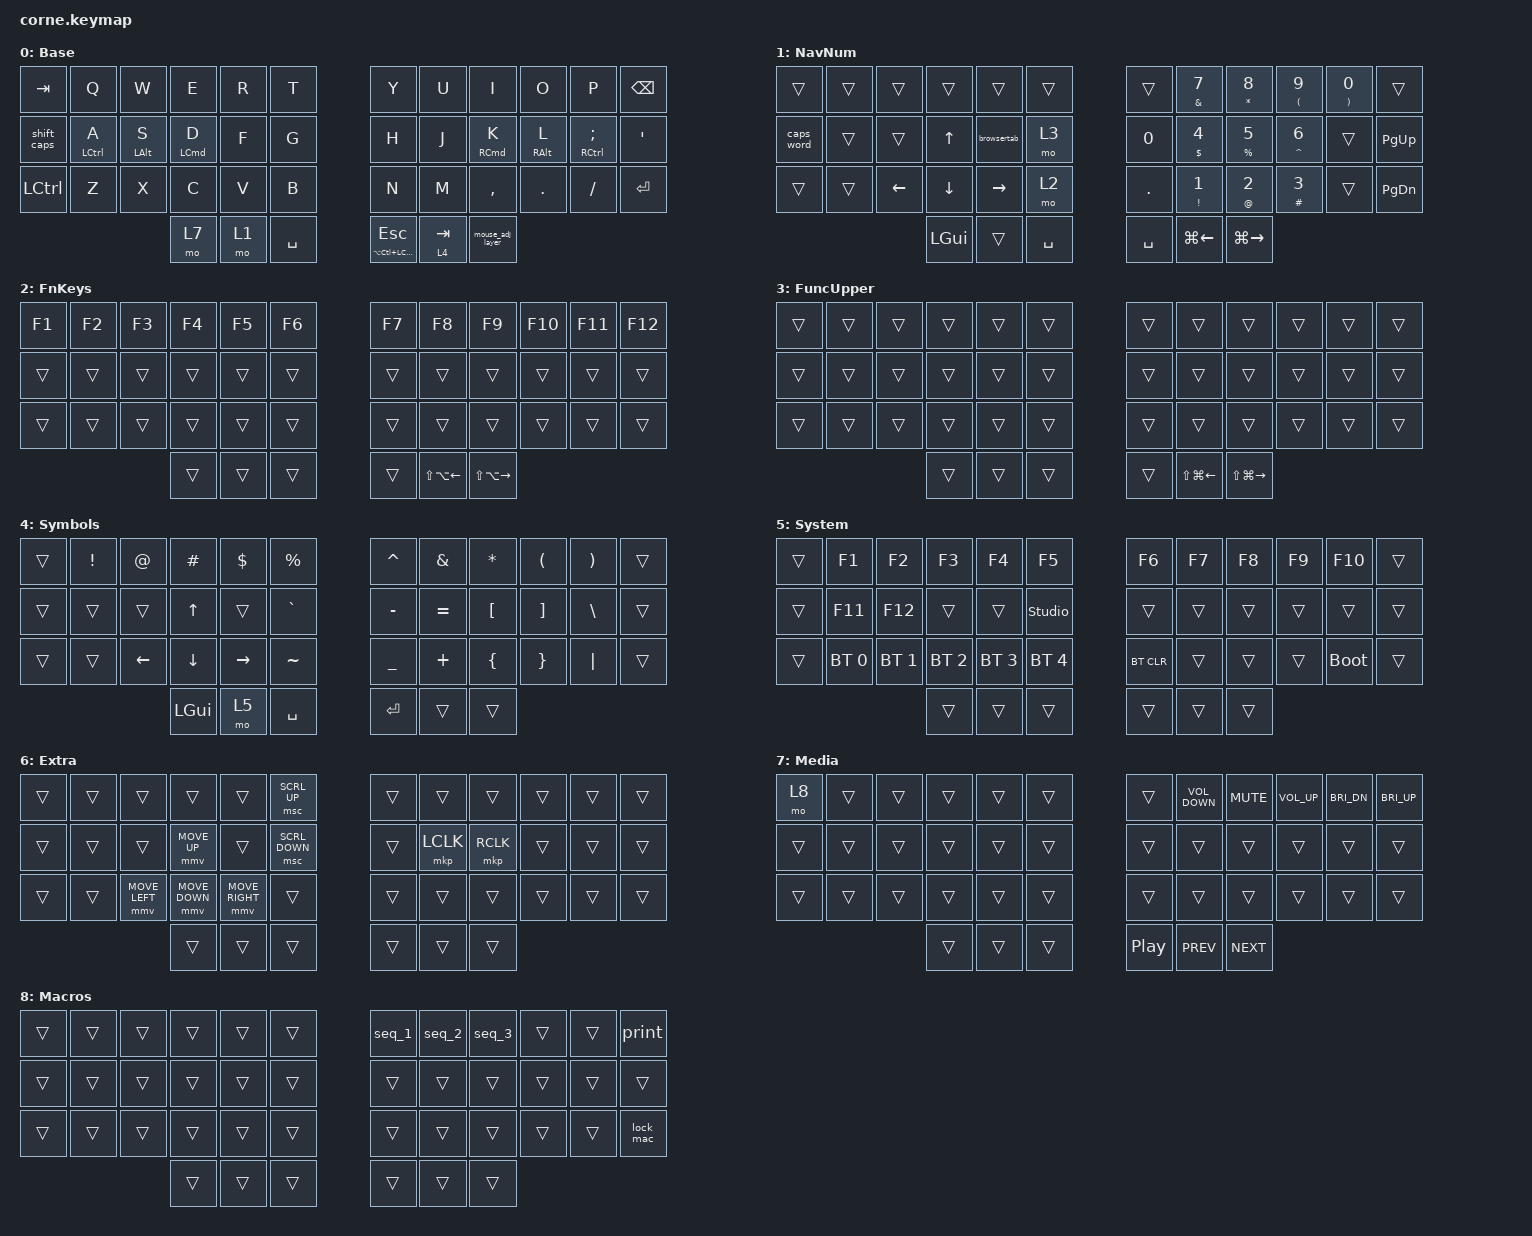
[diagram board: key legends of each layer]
#include <behaviors.dtsi>
#include <dt-bindings/zmk/bt.h>
#include <dt-bindings/zmk/keys.h>
#include <dt-bindings/zmk/pointing.h>

#define DEF 0
#define NAV 1
#define SYM 2
#define ADJ 3
#define EXTRA 4

/ {
    behaviors {
        hm: homerow_mods {
            compatible = "zmk,behavior-hold-tap";
            #binding-cells = <2>;
            tapping-term-ms = <200>;
            flavor = "tap-preferred";
            bindings = <&kp>, <&kp>;

            quick-tap-ms = <180>;
            require-prior-idle-ms = <120>; /* tune to taste */
        };

        para: para {
            compatible = "zmk,behavior-tap-dance";
            #binding-cells = <0>;
            bindings = <&kp LEFT_PARENTHESIS>, <&kp RIGHT_PARENTHESIS>;
        };

        caps: caps {
            compatible = "zmk,behavior-caps-word";
            #binding-cells = <0>;
            continue-list = <MINUS BACKSPACE>;
        };

        paraless: paraless {
            compatible = "zmk,behavior-mod-morph";
            bindings = <&kp LEFT_PARENTHESIS>, <&kp LESS_THAN>;

            #binding-cells = <0>;
            mods = <(MOD_LSFT)>;
        };

        paragreat: paragreat {
            compatible = "zmk,behavior-mod-morph";
            bindings = <&kp RIGHT_PARENTHESIS>, <&kp GREATER_THAN>;

            #binding-cells = <0>;
            mods = <(MOD_LSFT)>;
        };

        // Euro sign: types U+20AC via WinCompose on Windows
        // (RALT+U then 20ac then RET). mod-morph with `&none` on shift
        // matches the original ZMK_UNICODE_SINGLE semantics.
        // Edit the `euro_sign_lower` macro below to retarget per OS:
        //   Windows:  &macro_press &kp RALT &kp U RELEASE  ...  &macro_tap &kp RET
        //   Linux:    &macro_tap &kp LS(LC(U))  ...  &macro_tap &kp SPACE
        //   macOS:    &macro_press &kp LALT  ...  &macro_release &kp LALT

        euro_sign: euro_sign {
            compatible = "zmk,behavior-mod-morph";
            #binding-cells = <0>;
            bindings = <&euro_sign_lower>, <&none>;

            mods = <(MOD_LSFT|MOD_RSFT)>;
        };

        shift_caps: shift_caps {
            compatible = "zmk,behavior-tap-dance";
            label = "SHIFT_CAPS";
            #binding-cells = <0>;
            bindings = <&kp LEFT_SHIFT>, <&caps_word>;
        };

        print: print {
            compatible = "zmk,behavior-tap-dance";
            label = "PRINT";
            #binding-cells = <0>;
            bindings =
                <&kp LS(LG(LC(NUMBER_4)))>,
                <&kp LS(LG(NUMBER_4))>,
                <&kp LS(LG(N5))>;
        };

        mouse_adj_layer: mouse_adj_layer {
            compatible = "zmk,behavior-tap-dance";
            label = "MOUSE_ADJ_LAYER";
            #binding-cells = <0>;
            bindings = <&mo 6>, <&mo 5>;
        };

        hyper: hyper {
            compatible = "zmk,behavior-hold-tap";
            label = "HYPER";
            bindings = <&kp>, <&kp>;

            #binding-cells = <2>;
            tapping-term-ms = <200>;
            quick-tap-ms = <(-1)>;
            require-prior-idle-ms = <(-1)>;
        };
    };

    macros {
        browsertab: browsertab {
            compatible = "zmk,behavior-macro";
            #binding-cells = <0>;
            bindings =
                <&macro_press>,
                <&kp LCTRL>,
                <&macro_tap>,
                <&kp TAB>,
                <&macro_release>,
                <&kp LCTRL>;
        };

        seq_1: seq_1 {
            compatible = "zmk,behavior-macro";
            #binding-cells = <0>;
            bindings = <&kp N2 &kp N0 &kp N2 &kp N8 &kp N2 &kp N9 &kp LS(B) &kp R &kp U &kp N &kp I &kp N &kp H &kp O &kp N0 &kp N5 &kp ENTER>;
            label = "SEQ_1";
        };

        seq_2: seq_2 {
            compatible = "zmk,behavior-macro";
            #binding-cells = <0>;
            bindings = <&kp N2 &kp N0 &kp N2 &kp N8 &kp N2 &kp N9 &kp LS(G) &kp A &kp E &kp L &kp N0 &kp N5 &kp ENTER>;
            label = "SEQ_2";
        };

        seq_3: seq_3 {
            compatible = "zmk,behavior-macro";
            #binding-cells = <0>;
            bindings = <&none &kp N2 &kp N6 &kp N0 &kp N5 &kp LS(G) &kp A &kp E &kp L &kp N2 &kp N7 &kp N0 &kp N4 &kp LS(L) &kp I &kp Z &kp STAR &kp ENTER>;
            label = "SEQ_3";
        };

        print_mac: print_mac {
            compatible = "zmk,behavior-macro";
            #binding-cells = <0>;
            bindings =
                <&macro_press>,
                <&kp LEFT_COMMAND &kp LEFT_SHIFT &kp NUMBER_4>,
                <&macro_release>,
                <&kp LEFT_COMMAND &kp LEFT_SHIFT &kp NUMBER_4>;

            label = "PRINT_MAC";
        };

        rec_mac: rec_mac {
            compatible = "zmk,behavior-macro";
            #binding-cells = <0>;
            bindings =
                <&macro_press>,
                <&kp LEFT_COMMAND &kp LEFT_SHIFT &kp N5>,
                <&macro_release>,
                <&kp LEFT_COMMAND &kp LEFT_SHIFT &kp N5>;

            label = "REC_MAC";
        };

        lock_mac: lock_mac {
            compatible = "zmk,behavior-macro";
            #binding-cells = <0>;
            bindings =
                <&macro_press>,
                <&kp LEFT_COMMAND &kp LEFT_CONTROL &kp Q>,
                <&macro_release>,
                <&kp LEFT_COMMAND &kp LEFT_CONTROL &kp Q>;

            label = "LOCK_MAC";
        };

        ctrl_c: ctrl_c {
            compatible = "zmk,behavior-macro";
            #binding-cells = <0>;
            bindings =
                <&macro_press>,
                <&kp LCTRL &kp C>,
                <&macro_release>,
                <&kp LEFT_CONTROL &kp C>;

            label = "CTRL_C";
        };

        ctrl_v: ctrl_v {
            compatible = "zmk,behavior-macro";
            #binding-cells = <0>;
            bindings =
                <&macro_press>,
                <&kp LCTRL &kp V>,
                <&macro_release>,
                <&kp LEFT_CONTROL &kp V>;

            label = "CTRL_V";
        };

        cmd_c: cmd_c {
            compatible = "zmk,behavior-macro";
            #binding-cells = <0>;
            bindings =
                <&macro_press>,
                <&kp LEFT_COMMAND &kp C>,
                <&macro_release>,
                <&kp LEFT_COMMAND &kp C>;

            label = "CMD_C";
        };

        cmd_v: cmd_v {
            compatible = "zmk,behavior-macro";
            #binding-cells = <0>;
            bindings =
                <&macro_press>,
                <&kp LEFT_COMMAND &kp V>,
                <&macro_release>,
                <&kp LEFT_COMMAND &kp V>;

            label = "CMD_V";
        };

        // Euro sign macro: types U+20AC via macOS Unicode Hex Input.
        // Requires: System Settings → Keyboard → Input Sources →
        //           "Unicode Hex Input" added and active when pressing the combo.
        // Sequence: hold LEFT_ALT, tap 2-0-A-C, release LEFT_ALT.

        euro_sign_lower: euro_sign_lower {
            compatible = "zmk,behavior-macro";
            wait-ms = <10>;
            tap-ms = <10>;
            #binding-cells = <0>;
            bindings =
                <&macro_press>,
                <&kp LEFT_ALT &kp LEFT_SHIFT>,
                <&macro_tap>,
                <&kp N2>,
                <&macro_release>,
                <&kp LEFT_ALT &kp LEFT_SHIFT>;
        };

        cmd_x: cmd_x {
            compatible = "zmk,behavior-macro";
            #binding-cells = <0>;
            bindings =
                <&macro_press>,
                <&kp LEFT_COMMAND &kp X>,
                <&macro_release>,
                <&kp LEFT_COMMAND &kp X>;

            label = "CMD_X";
        };

        a_til: a_til {
            compatible = "zmk,behavior-macro";
            #binding-cells = <0>;
            bindings = <&kp TILDE &kp A>;
            label = "A_TIL";
        };

        c_cedilha: c_cedilha {
            compatible = "zmk,behavior-macro";
            #binding-cells = <0>;
            bindings = <&kp SQT &kp C>;
            label = "C_CEDILHA";
        };
    };

    combos {
        compatible = "zmk,combos";

        escape {
            bindings = <&kp ESCAPE>;
            key-positions = <0 1>;
        };

        delete {
            bindings = <&kp DELETE>;
            key-positions = <10 11>;
        };

        perc {
            bindings = <&kp PERCENT>;
            key-positions = <4 16>;
            layers = <0>;
        };

        equal {
            bindings = <&kp EQUAL>;
            key-positions = <18 6>;
            layers = <0>;
        };

        dollar {
            bindings = <&kp DOLLAR>;
            key-positions = <3 15>;
            layers = <0>;
        };

        pound {
            bindings = <&kp POUND>;
            key-positions = <17 5>;
            layers = <0>;
        };

        at {
            bindings = <&kp AT>;
            key-positions = <2 14>;
            layers = <0>;
        };

        backslash {
            bindings = <&kp BACKSLASH>;
            key-positions = <34 33>;
            layers = <0>;
        };

        star {
            bindings = <&kp STAR>;
            key-positions = <9 21>;
            layers = <0>;
        };

        slash {
            bindings = <&kp SLASH>;
            key-positions = <10 22>;
            layers = <0>;
        };

        plus {
            bindings = <&kp PLUS>;
            key-positions = <7 19>;
            layers = <0>;
        };

        minus {
            bindings = <&kp KP_MINUS>;
            key-positions = <8 20>;
            layers = <0>;
        };

        underscore {
            bindings = <&kp UNDER>;
            key-positions = <30 18>;
            layers = <0>;
        };

        leftbrack {
            bindings = <&kp LEFT_BRACKET>;
            key-positions = <31 32>;
            layers = <0>;
        };

        rightbrack {
            bindings = <&kp RIGHT_BRACKET>;
            key-positions = <33 32>;
            layers = <0>;
        };

        para-less {
            bindings = <&paraless>;
            key-positions = <20 19>;
            layers = <0>;
        };

        para-great {
            bindings = <&paragreat>;
            key-positions = <20 21>;
            layers = <0>;
        };

        copy {
            bindings = <&kp LG(C)>;
            key-positions = <26 27>;
        };

        paste {
            bindings = <&kp LG(V)>;
            key-positions = <27 28>;
        };

        til {
            bindings = <&kp TILDE>;
            key-positions = <22 23>;
        };

        cut {
            bindings = <&kp LG(X)>;
            key-positions = <25 26>;
        };

        euro {
            bindings = <&kp LA(LS(N2))>;
            key-positions = <15 27>;
        };

        a_til {
            bindings = <&a_til>;
            key-positions = <12 13>;
        };

        c_cedilha {
            bindings = <&c_cedilha>;
            key-positions = <24 27>;
        };
    };

    //

    keymap {
        compatible = "zmk,keymap";

        DEF {
            display-name = "Base";

            // -----------------------------------------------------------------------------------------
            // |  Q  |  W  |  E  |  R  |  T  |   |  Y  |  U   |  I  |  O  |  P  |
            // |  A  |  S  |  D  |  F  |  G  |   |  H  |  J   |  K  |  L  |  ;  |
            // |  Z  |  X  |  C  |  V  |  B  |   |  N  |  M   |  ,  |  .  |  /  |
            // | GUI | CTRL | SHFT | LWR | SPC |   | ENT | RSE  | BKSP | ALT | ESC |

            bindings = <
&kp TAB      &kp Q               &kp W           &kp E               &kp R  &kp T        &kp Y                               &kp U      &kp I                &kp O            &kp P                   &kp BACKSPACE
&shift_caps  &hm LEFT_CONTROL A  &hm LEFT_ALT S  &hm LEFT_COMMAND D  &kp F  &kp G        &kp H                               &kp J      &hm RIGHT_COMMAND K  &hm RIGHT_ALT L  &hm RIGHT_CONTROL SEMI  &kp SQT
&kp LCTRL    &kp Z               &kp X           &kp C               &kp V  &kp B        &kp N                               &kp M      &kp COMMA            &kp DOT          &kp FSLH                &kp RET
                                                 &mo 7               &mo 1  &kp SPACE    &hyper LA(LC(LEFT_COMMAND)) ESCAPE  &lt 4 TAB  &mouse_adj_layer
            >;
        };

        NAV {
            display-name = "NavNum";

            // -----------------------------------------------------------------------------------------
            // |  TAB |  1  |  2  |  3  |  4  |  5  |   |  6  |  7  |  8  |  9  |  0  | BKSP |
            // | BTCLR| BT1 | BT2 | BT3 | BT4 | BT5 |   | LFT | DWN |  UP | RGT |     |      |
            // | SHFT |     |     |     |     |     |   |     |     |     |     |     |      |
            // | GUI | CTRL | SHFT | LWR | SPC |   | ENT | RSE  | BKSP | ALT | ESC |

            bindings = <
&trans      &trans  &trans    &trans        &trans           &trans       &trans      &hm AMPERSAND N7          &hm ASTERISK N8  &hm LEFT_PARENTHESIS N9  &hm RIGHT_PARENTHESIS N0  &trans
&caps_word  &trans  &trans    &kp UP_ARROW  &browsertab      &mo 3        &kp N0      &hm DOLLAR N4             &hm PERCENT N5   &hm CARET N6             &trans                    &kp PAGE_UP
&trans      &trans  &kp LEFT  &kp DOWN      &kp RIGHT_ARROW  &mo 2        &kp PERIOD  &hm EXCLAMATION NUMBER_1  &hm AT N2        &hm HASH N3              &trans                    &kp PAGE_DOWN
                              &kp LGUI      &trans           &kp SPACE    &kp SPACE   &kp LG(LEFT_ARROW)        &kp LG(RIGHT)
            >;
        };

        FNKEY {
            bindings = <
&kp F1  &kp F2  &kp F3  &kp F4  &kp F5  &kp F6    &kp F7  &kp F8                  &kp F9                   &kp F10  &kp F11  &kp F12
&trans  &trans  &trans  &trans  &trans  &trans    &trans  &trans                  &trans                   &trans   &trans   &trans
&trans  &trans  &trans  &trans  &trans  &trans    &trans  &trans                  &trans                   &trans   &trans   &trans
                        &trans  &trans  &trans    &trans  &kp LS(LA(LEFT_ARROW))  &kp LS(LA(RIGHT_ARROW))
            >;

            label = "FnKeys";
        };

        FK_UPPER {
            bindings = <
&trans  &trans  &trans  &trans  &trans  &trans    &trans  &trans                  &trans                   &trans  &trans  &trans
&trans  &trans  &trans  &trans  &trans  &trans    &trans  &trans                  &trans                   &trans  &trans  &trans
&trans  &trans  &trans  &trans  &trans  &trans    &trans  &trans                  &trans                   &trans  &trans  &trans
                        &trans  &trans  &trans    &trans  &kp LS(LG(LEFT_ARROW))  &kp LS(LG(RIGHT_ARROW))
            >;

            label = "FuncUpper";
        };

        SYM {
            display-name = "Symbols";

            // -----------------------------------------------------------------------------------------
            // |  TAB |  !  |  @  |  #  |  $  |  %  |   |  ^  |  &  |  *  |  (  |  )  | BKSP |
            // | CTRL |     |     |     |     |     |   |  -  |  =  |  [  |  ]  |  \  |  `   |
            // | SHFT |     |     |     |     |     |   |  _  |  +  |  {  |  }  | "|" |  ~   |
            //                    | GUI |     | SPC |   | ENT |     | ALT |

            bindings = <
&trans  &kp EXCL  &kp AT          &kp HASH        &kp DLLR         &kp PRCNT    &kp CARET  &kp AMPS   &kp ASTRK  &kp LEFT_PARENTHESIS  &kp RPAR  &trans
&trans  &trans    &trans          &kp UP_ARROW    &trans           &kp GRAVE    &kp MINUS  &kp EQUAL  &kp LBKT   &kp RBKT              &kp BSLH  &trans
&trans  &trans    &kp LEFT_ARROW  &kp DOWN_ARROW  &kp RIGHT_ARROW  &kp TILDE    &kp UNDER  &kp PLUS   &kp LBRC   &kp RBRC              &kp PIPE  &trans
                                  &kp LGUI        &mo 5            &kp SPACE    &kp RET    &trans     &trans
            >;
        };

        ADJ {
            display-name = "System";
            bindings = <
&trans  &kp F1        &kp F2        &kp F3        &kp F4        &kp F5            &kp F6      &kp F7  &kp F8  &kp F9  &kp F10      &trans
&trans  &kp F11       &kp F12       &trans        &trans        &studio_unlock    &trans      &trans  &trans  &trans  &trans       &trans
&trans  &bt BT_SEL 0  &bt BT_SEL 1  &bt BT_SEL 2  &bt BT_SEL 3  &bt BT_SEL 4      &bt BT_CLR  &trans  &trans  &trans  &bootloader  &trans
                                    &trans        &trans        &trans            &trans      &trans  &trans
            >;
        };

        EXTRA {
            display-name = "Extra";
            bindings = <
&trans  &trans  &trans          &trans          &trans           &msc SCRL_UP      &trans  &trans     &trans     &trans  &trans  &trans
&trans  &trans  &trans          &mmv MOVE_UP    &trans           &msc SCRL_DOWN    &trans  &mkp LCLK  &mkp RCLK  &trans  &trans  &trans
&trans  &trans  &mmv MOVE_LEFT  &mmv MOVE_DOWN  &mmv MOVE_RIGHT  &trans            &trans  &trans     &trans     &trans  &trans  &trans
                                &trans          &trans           &trans            &trans  &trans     &trans
            >;
        };

        MED {
            bindings = <
&mo 8   &trans  &trans  &trans  &trans  &trans    &trans    &kp C_VOLUME_DOWN  &kp C_MUTE  &kp C_VOL_UP  &kp C_BRI_DN  &kp C_BRI_UP
&trans  &trans  &trans  &trans  &trans  &trans    &trans    &trans             &trans      &trans        &trans        &trans
&trans  &trans  &trans  &trans  &trans  &trans    &trans    &trans             &trans      &trans        &trans        &trans
                        &trans  &trans  &trans    &kp C_PP  &kp C_PREV         &kp C_NEXT
            >;

            label = "Media";
        };

        MAC {
            bindings = <
&trans  &trans  &trans  &trans  &trans  &trans    &seq_1  &seq_2  &seq_3  &trans  &trans  &print
&trans  &trans  &trans  &trans  &trans  &trans    &trans  &trans  &trans  &trans  &trans  &trans
&trans  &trans  &trans  &trans  &trans  &trans    &trans  &trans  &trans  &trans  &trans  &lock_mac
                        &trans  &trans  &trans    &trans  &trans  &trans
            >;

            label = "Macros";
        };
    };
};
